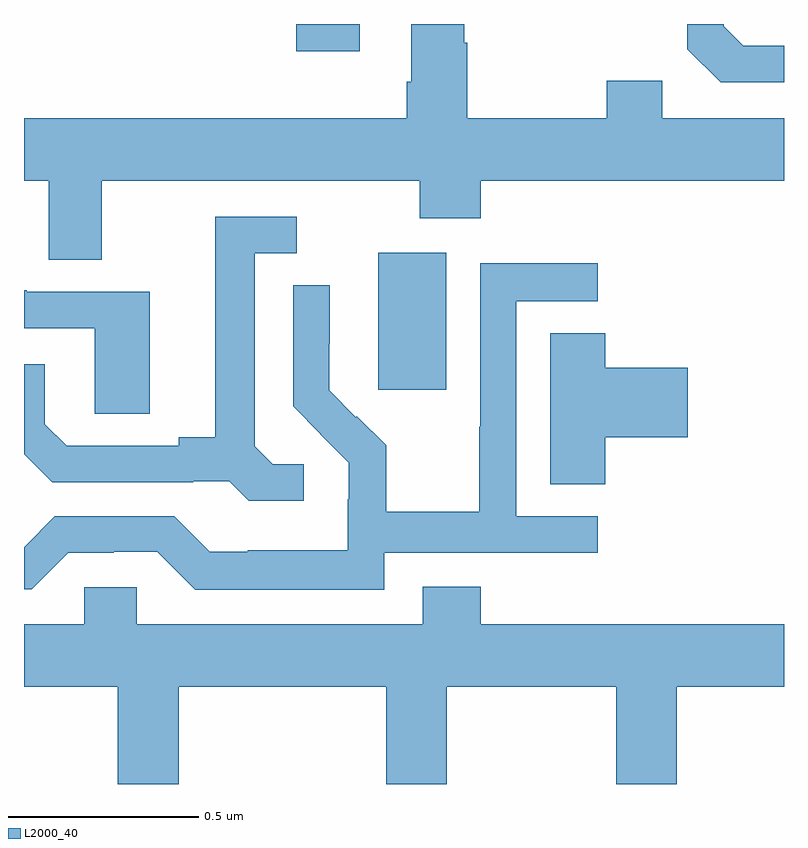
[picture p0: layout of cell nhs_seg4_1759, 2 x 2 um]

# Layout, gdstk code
import gdstk
lib = gdstk.Library(unit=1e-6, precision=1e-09)
def R(c, l, rs):  # rectangles x0, y0, x1, y1
    for r in rs: c.add(gdstk.rectangle(r[:2], r[2:], *l))
def P(c, l, *ps):  # polygons
    for p in ps: c.add(gdstk.Polygon(p, *l))
L2000_40 = (2000, 40)

nhs_seg4_1759 = lib.new_cell('nhs_seg4_1759')
R(nhs_seg4_1759, L2000_40, [(132.932,794.937,133.111,795.298), (132.716,795.828,132.883,795.9)])
P(nhs_seg4_1759, L2000_40, [(132.205,795.488),(133.042,795.488),(133.042,795.389),(133.202,795.389),(133.202,795.488),(134,795.488),(134,795.652),(133.68,795.652),(133.68,795.751),(133.534,795.751),(133.534,795.652),(133.167,795.652),(133.167,795.851),(133.159,795.851),(133.159,795.9),(133.019,795.9),(133.019,795.748),(133.007,795.748),(133.007,795.652),(132,795.652),(132,795.488),(132.065,795.488),(132.065,795.28),(132.205,795.28)],
  [(134,795.843),(133.893,795.843),(133.842,795.894),(133.842,795.9),(133.746,795.9),(133.746,795.834),(133.833,795.747),(134,795.747)],
  [(132.736,794.742),(132.654,794.742),(132.607,794.789),(132.607,795.297),(132.718,795.297),(132.718,795.393),(132.503,795.393),(132.503,794.813),(132.407,794.813),(132.407,794.79),(132.112,794.79),(132.055,794.847),(132.055,795.004),(132,795.004),(132,794.768),(132.074,794.694),(132.446,794.694),(132.446,794.697),(132.54,794.697),(132.592,794.645),(132.736,794.645)],
  [(132.948,794.508),(133.51,794.508),(133.51,794.604),(133.296,794.604),(133.296,795.171),(133.51,795.171),(133.51,795.27),(133.2,795.27),(133.2,794.84),(133.198,794.84),(133.198,794.617),(132.953,794.617),(132.953,794.791),(132.876,794.868),(132.873,794.865),(132.803,794.936),(132.803,795.058),(132.804,795.058),(132.804,795.212),(132.708,795.212),(132.708,794.894),(132.781,794.821),(132.78,794.82),(132.854,794.746),(132.854,794.649),(132.852,794.649),(132.852,794.515),(132.589,794.515),(132.589,794.511),(132.489,794.511),(132.396,794.604),(132.081,794.604),(132,794.523),(132,794.412),(132.021,794.412),(132.117,794.508),(132.236,794.508),(132.236,794.511),(132.351,794.511),(132.451,794.411),(132.948,794.411)],
  [(132.331,795.195),(132.007,795.195),(132.007,795.199),(132,795.199),(132,795.099),(132.186,795.099),(132.186,794.875),(132.331,794.875)],
  [(133.529,794.813),(133.747,794.813),(133.747,794.996),(133.529,794.996),(133.529,795.086),(133.385,795.086),(133.385,794.689),(133.529,794.689)],
  [(132.407,794.156),(132.953,794.156),(132.953,793.9),(133.113,793.9),(133.113,794.156),(133.558,794.156),(133.558,793.9),(133.718,793.9),(133.718,794.156),(134,794.156),(134,794.32),(133.202,794.32),(133.202,794.419),(133.049,794.419),(133.049,794.32),(132.297,794.32),(132.297,794.418),(132.159,794.418),(132.159,794.32),(132,794.32),(132,794.156),(132.247,794.156),(132.247,793.9),(132.407,793.9)])

lib.write_gds('nhs_seg4_1759.gds')
